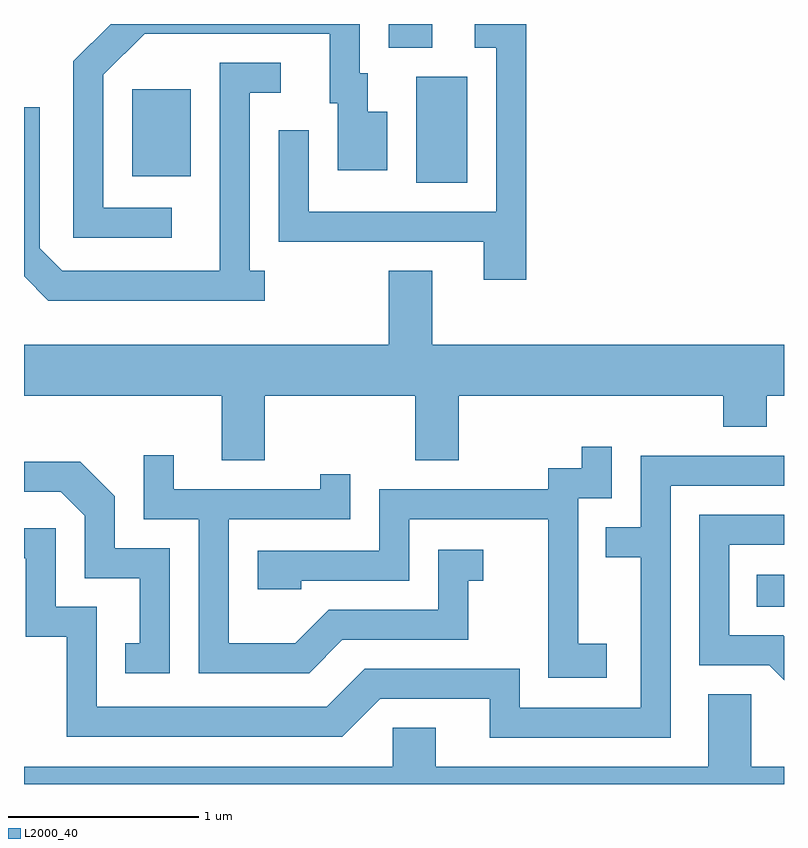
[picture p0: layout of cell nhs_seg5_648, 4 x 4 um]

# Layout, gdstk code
import gdstk
lib = gdstk.Library(unit=1e-6, precision=1e-09)
def R(c, l, rs):  # rectangles x0, y0, x1, y1
    for r in rs: c.add(gdstk.rectangle(r[:2], r[2:], *l))
def P(c, l, *ps):  # polygons
    for p in ps: c.add(gdstk.Polygon(p, *l))
L2000_40 = (2000, 40)

nhs_seg5_648 = lib.new_cell('nhs_seg5_648')
R(nhs_seg5_648, L2000_40, [(207.468,1469.006,207.611,1469.174), (205.676,1471.236,205.944,1471.794), (204.181,1471.271,204.489,1471.729), (205.531,1471.946,205.759,1472.072)])
P(nhs_seg5_648, L2000_40, [(206.254,1472.072),(205.983,1472.072),(205.983,1471.946),(206.096,1471.946),(206.096,1471.084),(205.109,1471.084),(205.109,1471.513),(204.951,1471.513),(204.951,1470.926),(206.031,1470.926),(206.031,1470.726),(206.254,1470.726)],
  [(204.388,1471.104),(204.029,1471.104),(204.029,1471.804),(204.247,1472.021),(205.221,1472.021),(205.221,1471.656),(205.261,1471.656),(205.261,1471.301),(205.524,1471.301),(205.524,1471.609),(205.419,1471.609),(205.419,1471.814),(205.379,1471.814),(205.379,1472.072),(204.067,1472.072),(203.871,1471.877),(203.871,1470.946),(204.388,1470.946)],
  [(204.878,1470.774),(204.799,1470.774),(204.799,1471.711),(204.963,1471.711),(204.963,1471.869),(204.641,1471.869),(204.641,1470.774),(203.812,1470.774),(203.694,1470.892),(203.694,1471.633),(203.611,1471.633),(203.611,1470.744),(203.739,1470.616),(204.878,1470.616)],
  [(204.879,1470.116),(205.671,1470.116),(205.671,1469.776),(205.899,1469.776),(205.899,1470.116),(207.291,1470.116),(207.291,1469.951),(207.519,1469.951),(207.519,1470.116),(207.611,1470.116),(207.611,1470.384),(205.759,1470.384),(205.759,1470.774),(205.531,1470.774),(205.531,1470.384),(203.611,1470.384),(203.611,1470.116),(204.651,1470.116),(204.651,1469.776),(204.879,1469.776)],
  [(206.679,1468.809),(206.529,1468.809),(206.529,1469.576),(206.704,1469.576),(206.704,1469.848),(206.546,1469.848),(206.546,1469.734),(206.371,1469.734),(206.371,1469.624),(205.481,1469.624),(205.481,1469.299),(204.841,1469.299),(204.841,1469.096),(205.069,1469.096),(205.069,1469.141),(205.639,1469.141),(205.639,1469.466),(206.371,1469.466),(206.371,1468.631),(206.679,1468.631)],
  [(205.287,1468.831),(205.949,1468.831),(205.949,1469.141),(206.028,1469.141),(206.028,1469.304),(205.791,1469.304),(205.791,1468.989),(205.214,1468.989),(205.039,1468.814),(204.689,1468.814),(204.689,1469.466),(205.329,1469.466),(205.329,1469.703),(205.171,1469.703),(205.171,1469.624),(204.399,1469.624),(204.399,1469.803),(204.241,1469.803),(204.241,1469.466),(204.531,1469.466),(204.531,1468.656),(205.112,1468.656)],
  [(207.014,1469.641),(207.611,1469.641),(207.611,1469.799),(206.856,1469.799),(206.856,1469.424),(206.673,1469.424),(206.673,1469.266),(206.856,1469.266),(206.856,1468.474),(206.219,1468.474),(206.219,1468.679),(205.404,1468.679),(205.204,1468.479),(203.994,1468.479),(203.994,1469.004),(203.779,1469.004),(203.779,1469.419),(203.611,1469.419),(203.611,1469.261),(203.621,1469.261),(203.621,1468.846),(203.836,1468.846),(203.836,1468.321),(205.287,1468.321),(205.487,1468.521),(206.061,1468.521),(206.061,1468.316),(207.014,1468.316)],
  [(204.379,1469.314),(204.089,1469.314),(204.089,1469.587),(203.907,1469.769),(203.611,1469.769),(203.611,1469.611),(203.804,1469.611),(203.931,1469.484),(203.931,1469.156),(204.221,1469.156),(204.221,1468.814),(204.143,1468.814),(204.143,1468.656),(204.379,1468.656)],
  [(207.611,1468.85),(207.607,1468.854),(207.324,1468.854),(207.324,1469.331),(207.611,1469.331),(207.611,1469.489),(207.166,1469.489),(207.166,1468.696),(207.534,1468.696),(207.611,1468.619)],
  [(207.611,1468.164),(207.439,1468.164),(207.439,1468.544),(207.211,1468.544),(207.211,1468.164),(205.779,1468.164),(205.779,1468.369),(205.551,1468.369),(205.551,1468.164),(203.611,1468.164),(203.611,1468.072),(207.611,1468.072)])

lib.write_gds('nhs_seg5_648.gds')
